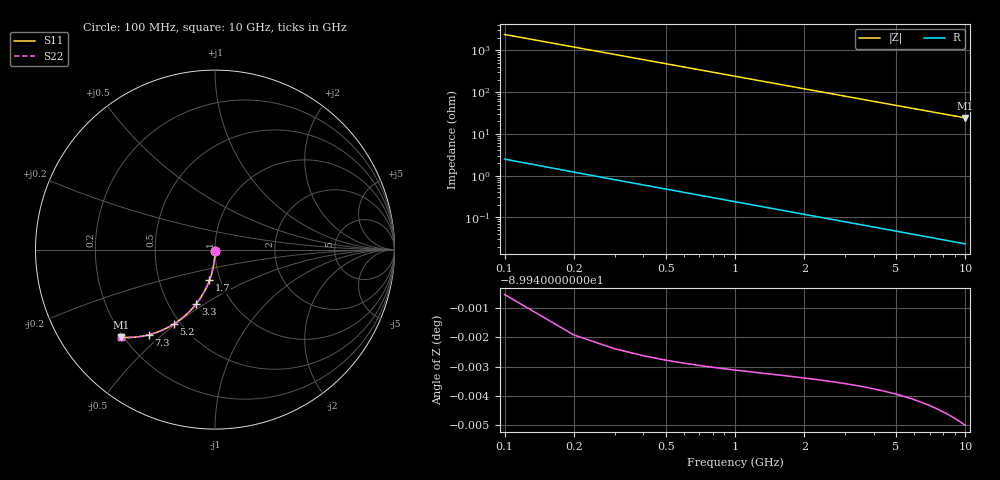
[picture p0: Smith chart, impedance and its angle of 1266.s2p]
# Hz S RI R 50.00
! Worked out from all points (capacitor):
!   100 points, 100 MHz to 10 GHz, reference 50 ohm
!   read as one part in shunt: C = 664 fF near 100 MHz
!   lowest |Z| = 24.2 ohm at 10 GHz (marker M1)
!   S11 on the Smith chart (normalised r, x): 100 MHz: 1.00, -0.02; 1.7 GHz: 0.89, -0.31; 3.3 GHz: 0.68, -0.46; 5.2 GHz: 0.46, -0.49; 7.3 GHz: 0.31, -0.45; 10 GHz: 0.19, -0.38
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1e8  -8.82e-05 -0.0103  0.9998 -0.0105  0.9998 -0.0105  -8.82e-05 -0.0103
2e8  -0.000425 -0.0207  0.9995 -0.0211  0.9995 -0.0211  -0.000425 -0.0207
3e8  -0.000979 -0.031  0.999 -0.0316  0.999 -0.0316  -0.000979 -0.031
4e8  -0.00175 -0.0413  0.9982 -0.0421  0.9982 -0.0421  -0.00175 -0.0413
5e8  -0.00274 -0.0515  0.9972 -0.0525  0.9972 -0.0525  -0.00274 -0.0515
6e8  -0.00394 -0.0618  0.996 -0.063  0.996 -0.063  -0.00394 -0.0618
8e8  -0.00697 -0.0821  0.993 -0.0837  0.993 -0.0837  -0.00697 -0.0821
1.1e9  -0.0131 -0.1122  0.9868 -0.1144  0.9868 -0.1144  -0.0131 -0.1122
1.4e9  -0.021 -0.1416  0.9789 -0.1444  0.9789 -0.1444  -0.021 -0.1416
1.7e9  -0.0306 -0.1703  0.9693 -0.1737  0.9693 -0.1737  -0.0306 -0.1703
1.8e9  -0.0342 -0.1796  0.9657 -0.1832  0.9657 -0.1832  -0.0342 -0.1796
2.1e9  -0.046 -0.2069  0.9539 -0.2112  0.9539 -0.2112  -0.046 -0.2069
2.5e9  -0.0639 -0.2417  0.936 -0.2467  0.936 -0.2467  -0.0639 -0.2417
3.3e9  -0.1063 -0.3044  0.8936 -0.3111  0.8936 -0.3111  -0.1063 -0.3044
3.4e9  -0.1121 -0.3116  0.8878 -0.3185  0.8878 -0.3185  -0.1121 -0.3116
4.2e9  -0.1615 -0.3632  0.8384 -0.3718  0.8384 -0.3718  -0.1615 -0.3632
5.1e9  -0.2211 -0.4093  0.7788 -0.4197  0.7788 -0.4197  -0.2211 -0.4093
5.2e9  -0.2279 -0.4137  0.772 -0.4243  0.772 -0.4243  -0.2279 -0.4137
6.7e9  -0.3288 -0.4625  0.671 -0.4762  0.671 -0.4762  -0.3288 -0.4625
7.3e9  -0.3678 -0.4742  0.632 -0.4892  0.632 -0.4892  -0.3678 -0.4742
8.4e9  -0.4352 -0.4866  0.5646 -0.504  0.5646 -0.504  -0.4352 -0.4866
1e10  -0.5222 -0.4886  0.4775 -0.5094  0.4775 -0.5094  -0.5222 -0.4886
